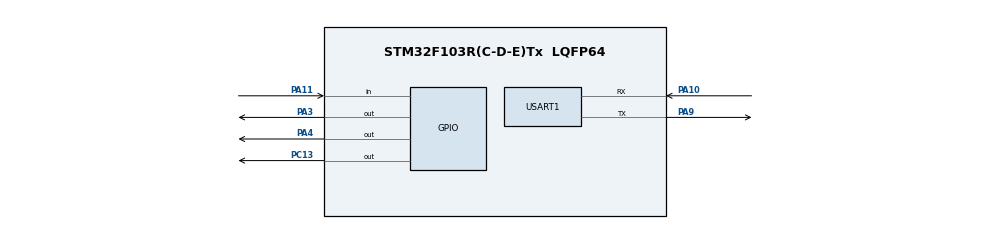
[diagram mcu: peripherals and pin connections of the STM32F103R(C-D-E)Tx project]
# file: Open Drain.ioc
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Mcu.Family=STM32F1
Mcu.Name=STM32F103R(C-D-E)Tx
Mcu.Package=LQFP64
NVIC.PriorityGroup=NVIC_PRIORITYGROUP_4
PA10.Mode=Asynchronous
PA10.Signal=USART1_RX
PA11.GPIO_PuPd=GPIO_PULLUP
PA11.Signal=GPIO_Input
PA3.PinState=GPIO_PIN_RESET
PA3.Signal=GPIO_Output
PA4.PinState=GPIO_PIN_RESET
PA4.Signal=GPIO_Output
PA9.Mode=Asynchronous
PA9.Signal=USART1_TX
PC13-TAMPER-RTC.GPIO_ModeDefaultOutputPP=GPIO_MODE_OUTPUT_PP
PC13-TAMPER-RTC.GPIO_PuPd=GPIO_NOPULL
PC13-TAMPER-RTC.Signal=GPIO_Output
PD0-OSC_IN.Mode=HSE-External-Oscillator
PD0-OSC_IN.Signal=RCC_OSC_IN
PD1-OSC_OUT.Mode=HSE-External-Oscillator
PD1-OSC_OUT.Signal=RCC_OSC_OUT
ProjectManager.HeapSize=0x200
ProjectManager.StackSize=0x400
ProjectManager.TargetToolchain=STM32CubeIDE
RCC.APB1Freq_Value=8000000
RCC.APB2Freq_Value=8000000
USART1.VirtualMode=VM_ASYNC
VP_SYS_VS_ND.Mode=No_Debug
board=custom

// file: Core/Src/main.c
/* USER CODE BEGIN Header */
/**
  ******************************************************************************
  * @file           : main.c
  * @brief          : Main program body
  ******************************************************************************
  * @attention
  *
  * Copyright (c) 2026 STMicroelectronics.
  * All rights reserved.
  *
  * This software is licensed under terms that can be found in the LICENSE file
  * in the root directory of this software component.
  * If no LICENSE file comes with this software, it is provided AS-IS.
  *
  ******************************************************************************
  */
/* USER CODE END Header */
#include "main.h"

/* USER CODE BEGIN Includes */
#include <stdio.h>
#include <string.h>
/* USER CODE END Includes */

UART_HandleTypeDef huart1;

void SystemClock_Config(void);
static void MX_GPIO_Init(void);
static void MX_USART1_UART_Init(void);

int main(void)
{

  /* MCU Configuration--------------------------------------------------------*/

  /* Reset of all peripherals, Initializes the Flash interface and the Systick. */
  HAL_Init();

  /* Configure the system clock */
  SystemClock_Config();

  /* Initialize all configured peripherals */
  MX_GPIO_Init();
  MX_USART1_UART_Init();

  /* Infinite loop */
  /* USER CODE BEGIN WHILE */
  unsigned int counter = 0;
  char str[20];
  char nl[] = "\r\n";

  while (1)
  {
	  if (!HAL_GPIO_ReadPin(GPIOA, GPIO_PIN_11)) {
		  HAL_GPIO_TogglePin(GPIOA, GPIO_PIN_3);
		  HAL_Delay(500);
		  HAL_GPIO_TogglePin(GPIOA, GPIO_PIN_3);
		  HAL_Delay(100);
		  HAL_GPIO_TogglePin(GPIOA, GPIO_PIN_4);
		  HAL_Delay(500);
		  HAL_GPIO_TogglePin(GPIOA, GPIO_PIN_4);
		  HAL_Delay(100);
		  counter += 2;
		  int len = snprintf(str, sizeof(str), "%u", counter);
		  HAL_UART_Transmit(&huart1, (uint8_t*)str, len, HAL_MAX_DELAY);
		  HAL_UART_Transmit(&huart1, (uint8_t*)nl, sizeof(nl), HAL_MAX_DELAY);
	  } else {
		  counter = 0;
	  }

    /* USER CODE END WHILE */

  }
}

void SystemClock_Config(void)
{
  RCC_OscInitTypeDef RCC_OscInitStruct = {0};
  RCC_ClkInitTypeDef RCC_ClkInitStruct = {0};

  /** Initializes the RCC Oscillators according to the specified parameters
  * in the RCC_OscInitTypeDef structure.
  */
  RCC_OscInitStruct.OscillatorType = RCC_OSCILLATORTYPE_HSI;
  RCC_OscInitStruct.HSIState = RCC_HSI_ON;
  RCC_OscInitStruct.HSICalibrationValue = RCC_HSICALIBRATION_DEFAULT;
  RCC_OscInitStruct.PLL.PLLState = RCC_PLL_NONE;
  if (HAL_RCC_OscConfig(&RCC_OscInitStruct) != HAL_OK)
  {
    Error_Handler();
  }

  /** Initializes the CPU, AHB and APB buses clocks
  */
  RCC_ClkInitStruct.ClockType = RCC_CLOCKTYPE_HCLK|RCC_CLOCKTYPE_SYSCLK
                              |RCC_CLOCKTYPE_PCLK1|RCC_CLOCKTYPE_PCLK2;
  RCC_ClkInitStruct.SYSCLKSource = RCC_SYSCLKSOURCE_HSI;
  RCC_ClkInitStruct.AHBCLKDivider = RCC_SYSCLK_DIV1;
  RCC_ClkInitStruct.APB1CLKDivider = RCC_HCLK_DIV1;
  RCC_ClkInitStruct.APB2CLKDivider = RCC_HCLK_DIV1;

  if (HAL_RCC_ClockConfig(&RCC_ClkInitStruct, FLASH_LATENCY_0) != HAL_OK)
  {
    Error_Handler();
  }
}

static void MX_USART1_UART_Init(void)
{

  huart1.Instance = USART1;
  huart1.Init.BaudRate = 115200;
  huart1.Init.WordLength = UART_WORDLENGTH_8B;
  huart1.Init.StopBits = UART_STOPBITS_1;
  huart1.Init.Parity = UART_PARITY_NONE;
  huart1.Init.Mode = UART_MODE_TX_RX;
  huart1.Init.HwFlowCtl = UART_HWCONTROL_NONE;
  huart1.Init.OverSampling = UART_OVERSAMPLING_16;
  if (HAL_UART_Init(&huart1) != HAL_OK)
  {
    Error_Handler();
  }

}

static void MX_GPIO_Init(void)
{
  GPIO_InitTypeDef GPIO_InitStruct = {0};

  /* GPIO Ports Clock Enable */
  __HAL_RCC_GPIOC_CLK_ENABLE();
  __HAL_RCC_GPIOD_CLK_ENABLE();
  __HAL_RCC_GPIOA_CLK_ENABLE();

  /*Configure GPIO pin Output Level */
  HAL_GPIO_WritePin(GPIOC, GPIO_PIN_13, GPIO_PIN_RESET);

  /*Configure GPIO pin Output Level */
  HAL_GPIO_WritePin(GPIOA, GPIO_PIN_3|GPIO_PIN_4, GPIO_PIN_RESET);

  /*Configure GPIO pin : PC13 */
  GPIO_InitStruct.Pin = GPIO_PIN_13;
  GPIO_InitStruct.Mode = GPIO_MODE_OUTPUT_PP;
  GPIO_InitStruct.Pull = GPIO_NOPULL;
  GPIO_InitStruct.Speed = GPIO_SPEED_FREQ_LOW;
  HAL_GPIO_Init(GPIOC, &GPIO_InitStruct);

  /*Configure GPIO pins : PA3 PA4 */
  GPIO_InitStruct.Pin = GPIO_PIN_3|GPIO_PIN_4;
  GPIO_InitStruct.Mode = GPIO_MODE_OUTPUT_PP;
  GPIO_InitStruct.Pull = GPIO_NOPULL;
  GPIO_InitStruct.Speed = GPIO_SPEED_FREQ_LOW;
  HAL_GPIO_Init(GPIOA, &GPIO_InitStruct);

  /*Configure GPIO pin : PA11 */
  GPIO_InitStruct.Pin = GPIO_PIN_11;
  GPIO_InitStruct.Mode = GPIO_MODE_INPUT;
  GPIO_InitStruct.Pull = GPIO_PULLUP;
  HAL_GPIO_Init(GPIOA, &GPIO_InitStruct);

}

void Error_Handler(void)
{
  __disable_irq();
  while (1)
  {
  }
}
